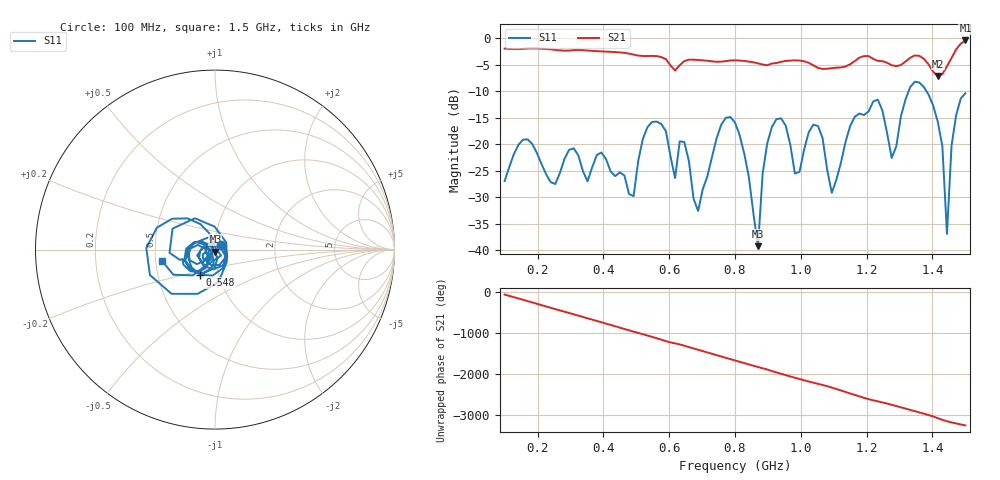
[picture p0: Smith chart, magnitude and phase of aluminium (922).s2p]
! NanoVNA-App
! Date: 2025-09-25 15:02:27
! Start: 100MHz Stop: 1,5GHz Points: 101
! S-Parameter data: F S11 S21 S12 S22
# Hz S RI R 50
!  Frequency  S11_Real  S11_Imag  S21_Real  S21_Imag  S12_Real  S12_Imag  S22_Real  S22_Imag
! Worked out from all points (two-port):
!   101 points, 100 MHz to 1.5 GHz, reference 50 ohm
!   highest |S21| = -0.40 dB at 1.5 GHz (marker M1); lowest = -7.1 dB at 1.416 GHz (marker M2)
!   |S21| within 3 dB of the highest: start of sweep to 565.4 MHz; 1.461 GHz to end of sweep (the widest 2 of 4)
!   lowest |S11| = -39.2 dB at 870 MHz (marker M3), VSWR 1.02, Z = 50.2 - j1.07 ohm
!   |S11| at or under -10 dB: start of sweep to 1.327 GHz; 1.382 GHz to end of sweep
!   S12 and S22 are empty: the file has one direction only
!   S11 on the Smith chart (normalised r, x): 100 MHz: 1.07, +0.06; 548 MHz: 0.82, -0.24; 1.5 GHz: 0.54, -0.07
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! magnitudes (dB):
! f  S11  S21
! 100 MHz  -27.0  -1.9
! 156 MHz  -19.1  -2.0
! 338 MHz  -25.1  -2.2
! 492 MHz  -29.8  -3.1
! 548 MHz  -15.8  -3.3
! 576 MHz  -16.2  -3.5
! 618 MHz  -26.4  -6.1
! 646 MHz  -19.6  -4.3
! 688 MHz  -32.6  -4.1
! 800 MHz  -15.9  -4.1
! 870 MHz  -39.2  -4.7
! 912 MHz  -16.7  -4.8
! 982 MHz  -25.5  -4.2
! 1.038 GHz  -16.3  -5.1
! 1.094 GHz  -29.2  -5.6
! 1.22 GHz  -11.9  -3.9
! 1.276 GHz  -22.6  -5.1
! 1.346 GHz  -8.2  -3.2
! 1.416 GHz  -15.7  -7.1
! 1.444 GHz  -36.9  -5.3
! 1.458 GHz  -20.2  -3.7
! 1.5 GHz  -10.4  -0.4
